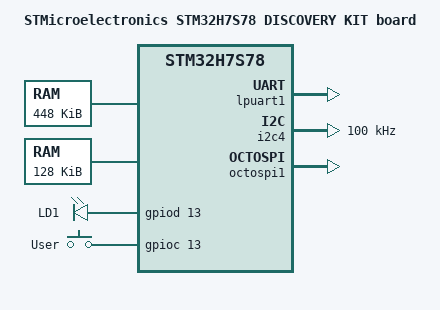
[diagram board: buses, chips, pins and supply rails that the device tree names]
// STM32H7S78-DK Device Tree
// STM32H7S78-DK 设备树
//
// 设备树的核心是定义 "硬件属性"（寄存器地址、中断号、时钟、兼容标识等），不定义 "驱动逻辑"
// 驱动代码通过「通用逻辑 + 适配层」处理不同 SoC 的外设操作差异，适配层由设备树的 compatible 属性触发
//
// 基于 Zephyr 的 stm32h7s78_dk 设备树配置移植

/dts-v1/;

/ {
    // 开发板模型描述
    // 开发板的名称和兼容标识，用于驱动匹配
    model = "STMicroelectronics STM32H7S78 DISCOVERY KIT board";
    compatible = "st,stm32h7s78-dk";

    // 内存定义
    // 内部 SRAM
    sram0: memory@30000000 {
        device_type = "memory";
        compatible = "mmio-sram";
        reg = <0x30000000 0x70000>;
    };

    // DTCM (Data Tightly Coupled Memory)
    ccm0: memory@20000000 {
        compatible = "zephyr,memory-region", "mmio-sram";
        reg = <0x20000000 0x20000>;
        zephyr,memory-region = "DTCM";
    };

    // 外部 Flash (OctoSPI)
    ext_flash: flash@60000000 {
        compatible = "zephyr,memory-region", "mmio-sram";
        reg = <0x60000000 0x8000000>;
        zephyr,memory-region = "EXTFLASH";
    };

    // LED 设备节点定义
    leds {
        compatible = "gpio-leds";

        // LD1
        led1: led_1 {
            compatible = "gpio-leds";
            // GPIO 引脚编号: PD13
            gpios = <&gpiod 13 0>;
            label = "LD1";
        };
    };

    // GPIO 按键节点定义
    gpio_keys {
        compatible = "gpio-keys";

        // 用户按钮
        user_button: button {
            label = "User";
            // GPIO 引脚编号: PC13
            gpios = <&gpioc 13 16>;
            zephyr,code = <0>;
        };
    };

    // SoC (System on Chip) 节点定义
    soc {
        #address-cells = <1>;
        #size-cells = <1>;
        // SoC 兼容标识
        compatible = "st,stm32h7s7";
        // 地址转换范围
        ranges;

        // GPIOA 控制器
        gpioa: gpio@48000000 {
            compatible = "st,stm32-gpio";
            reg = <0x48000000 0x400>;
            clocks = <&rcc 0>;
        };

        // GPIOC 控制器
        gpioc: gpio@48000400 {
            compatible = "st,stm32-gpio";
            reg = <0x48000400 0x400>;
            clocks = <&rcc 0>;
        };

        // GPIOD 控制器
        gpiod: gpio@48000800 {
            compatible = "st,stm32-gpio";
            reg = <0x48000800 0x400>;
            clocks = <&rcc 0>;
        };

        // GPIOG 控制器
        gpiog: gpio@48001400 {
            compatible = "st,stm32-gpio";
            reg = <0x48001400 0x400>;
            clocks = <&rcc 0>;
        };

        // LPUART1 串口节点定义
        lpuart1: serial@48101800 {
            // 兼容标识，用于匹配对应的 UART 驱动
            compatible = "st,stm32-lpuart";
            // 寄存器基地址和大小
            reg = <0x48101800 0x400>;
            // 中断号
            interrupts = <20>;
            // 状态
            status = "okay";
        };

        // I2C4 总线节点定义
        i2c4: i2c@48001400 {
            // 兼容标识，用于匹配对应的 I2C 驱动
            compatible = "st,stm32-i2c";
            // 寄存器基地址和大小
            reg = <0x48001400 0x400>;
            // 中断号
            interrupts = <101>;
            // 时钟频率，单位 Hz
            clock-frequency = <100000>;
            // 状态
            status = "okay";
        };

        // OctoSPI1 控制器
        octospi1: octospi@52004000 {
            compatible = "st,stm32-octospi";
            reg = <0x52004000 0x400>;
            interrupts = <137>;
            clocks = <&rcc 0>;
            status = "okay";
        };

        // USB OTG FS 控制器
        usbotg_fs: usb@48080000 {
            compatible = "st,stm32-otgfs";
            reg = <0x48080000 0x40000>;
            interrupts = <67>;
            clocks = <&rcc 0>;
            status = "disabled";
        };

        // ADC1 控制器
        adc1: adc@48004000 {
            compatible = "st,stm32-adc";
            reg = <0x48004000 0x400>;
            interrupts = <18>;
            clocks = <&rcc 0>;
            status = "disabled";
        };

        // RCC (Reset and Clock Control) 控制器
        rcc: rcc@58000400 {
            compatible = "st,stm32h7-rcc";
            reg = <0x58000400 0x400>;
            clocks = <&pll>;
        };
    };

    // 别名定义
    // 为常用设备提供简短的别名，方便驱动查找
    aliases {
        led0 = &led1;
        sw0 = &user_button;
        console = &lpuart1;
        serial0 = &lpuart1;
    };
};
